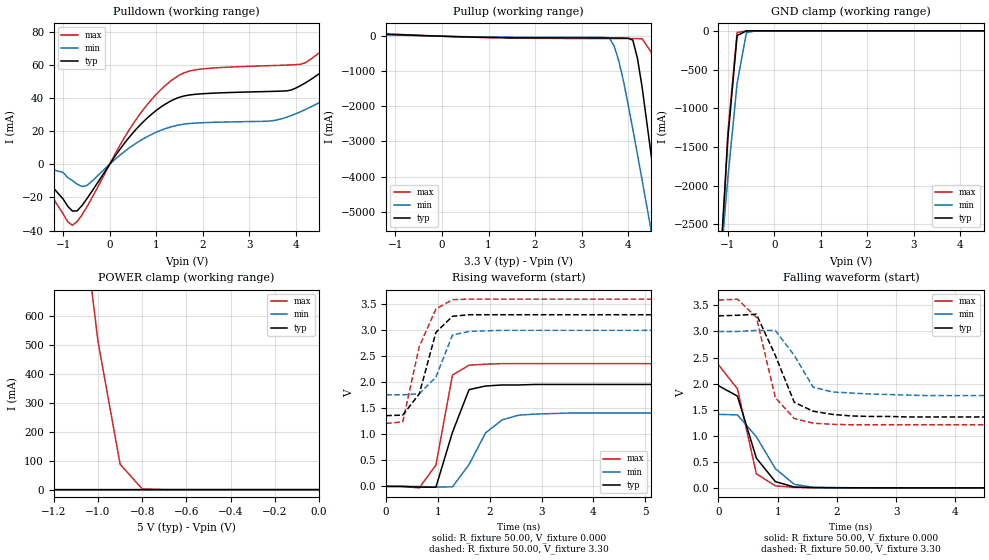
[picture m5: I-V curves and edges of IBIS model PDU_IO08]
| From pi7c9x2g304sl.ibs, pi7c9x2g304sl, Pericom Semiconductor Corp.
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|   Model PDU_IO08
[Model]   PDU_IO08
Model_type   I/O
Polarity   Non-Inverting
Enable   Active-Low
Vinl =   0.80V
Vinh =   2.00V
Vmeas =   1.65V
Cref =  50.00pF
Rref =   1.00M
Vref =  0.000V
C_comp   1.79pF   1.61pF   1.97pF
[Temperature Range]   25.00   0.12k   0.000
[Pullup Reference]   3.30V   3.00V   3.60V
[Pulldown Reference]   0.000V   0.000V   0.000V
[POWER Clamp Reference]   5.00V   4.50V   5.50V
[GND Clamp Reference]   0.000V   0.000V   0.000V
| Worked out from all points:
|   slope of the pulldown table from 0 to 0.495 V, typ, clamps not added: 26.3 ohm
|   slope of the pullup table from 0 to 0.495 V, typ, clamps not added: 26 ohm
|   GND clamp passes 1 mA (typ) near -0.60 V on its own axis
|   POWER clamp passes 1 mA (typ) near -1.31 V on its own axis
|   rising waveform, R_fixture 50.00, V_fixture 0.000: 20-80 % time 402ps typ, 548ps min, 262ps max; typ from 0.001 V to 1.96 V
|   rising waveform, R_fixture 50.00, V_fixture 3.30: 20-80 % time 332ps typ, 350ps min, 413ps max; typ from 1.36 V to 3.3 V
|   falling waveform, R_fixture 50.00, V_fixture 0.000: 20-80 % time 395ps typ, 526ps min, 278ps max; typ from 1.96 V to 0.001 V
|   falling waveform, R_fixture 50.00, V_fixture 3.30: 20-80 % time 432ps typ, 420ps min, 323ps max; typ from 3.3 V to 1.36 V
[Pulldown]
| voltage   I(typ)   I(min)   I(max)
-3.3V     0A         0A         0A
-1.7V     -2mA       -1mA       0A
-800mV    -28.27mA   -9.9mA     -36.85mA
-500mV    -21.24mA   -12.99mA   -26.22mA
600mV     22.1mA     13.29mA    28.31mA
1.5V      40.44mA    23.78mA    53.82mA
3.9V      44.8mA     29.37mA    59.97mA
4.3V      50.75mA    34.28mA    63mA
5.1V      68.29mA    46.18mA    82.64mA
5.7V      83.98mA    54.63mA    100mA
5.9V      89.44mA    33.98mA    110mA
6.6V      620mA      39.63mA    1.27A
[Pullup]
| voltage   I(typ)   I(min)   I(max)
-3.3V     140mA      75.04mA    160mA
3.6V      -50.24mA   -57.17mA   -66.29mA
3.7V      -50.39mA   -280mA     -66.49mA
3.8V      -50.62mA   -710mA     -66.69mA
4.1V      -110mA     -2.65A     -67.44mA
4.2V      -630mA     -3.37A     -68.94mA
4.3V      -1.45A     -4.1A      -72.56mA
4.5V      -3.44A     -5.58A     -460mA
4.7V      -5.53A     -7.07A     -2.55A
4.9V      -7.65A     -8.57A     -5.07A
5.1V      -9.78A     -10.07A    -7.65A
6.6V      -25.9A     -21.41A    -27.37A
[GND_clamp]
| voltage   I(typ)   I(min)   I(max)
-5V       -44.03A    -32.02A    -53.7A
-1.2V     -3.38A     -3.33A     -3.73A
-1V       -1.4A      -1.91A     -1.32A
-800mV    -61.51mA   -680mA     -21.84mA
-600mV    -890uA     -24.58mA   -1.59mA
-400mV    -41.62uA   -180uA     -62.74uA
5V        5.41nA     9.3nA      5.22nA
[POWER_clamp]
| voltage   I(typ)   I(min)   I(max)
-3.3V     6.83A      4.83uA     17.26A
-1.7V     880mA      31.74nA    5.49A
-1.6V     510mA      14.2nA     4.75A
-1.5V     140mA      12.99nA    4.01A
-1.4V     7.68mA     12.76nA    3.28A
-1.3V     180uA      12.58nA    2.54A
-1.1V     95.66nA    12.25nA    1.14A
-1V       8.35nA     12.1nA     510mA
-900mV    6.3nA      11.95nA    87.31mA
-800mV    6.14nA     11.8nA     2.31mA
0V        5.27nA     10.73nA    5.78nA
[Ramp]
| variable   typ   min   max
dV/dt_r   1.18/0.29n   0.85/0.45n   1.42/0.22n
dV/dt_f   1.16/0.30n   0.74/0.38n   1.43/0.28n
R_load = 50.00
[Rising Waveform]
R_fixture = 50.00
V_fixture = 0.000
V_fixture_min = 0.000
V_fixture_max = 0.000
L_fixture = 0.000H
C_fixture = 0.000F
| time   V(typ)   V(min)   V(max)
0s        540uV      440uV      650uV
640ps     -14.3mV    -1.81mV    -28.22mV
960ps     -16.12mV   -12.94mV   410mV
1.28ns    1.04V      -9.51mV    2.14V
1.6ns     1.86V      420mV      2.33V
1.92ns    1.93V      1.03V      2.35V
2.24ns    1.95V      1.28V      2.36V
2.56ns    1.95V      1.37V      2.36V
3.52ns    1.96V      1.41V      2.36V
16ns      1.96V      1.41V      2.36V
[Rising Waveform]
R_fixture = 50.00
V_fixture = 3.30
V_fixture_min = 3.00
V_fixture_max = 3.60
L_fixture = 0.000H
C_fixture = 0.000F
| time   V(typ)   V(min)   V(max)
0s        1.36V      1.76V      1.21V
320ps     1.37V      1.76V      1.24V
640ps     1.78V      1.78V      2.69V
960ps     2.96V      2.1V       3.41V
1.28ns    3.27V      2.91V      3.59V
1.6ns     3.3V       2.98V      3.6V
2.24ns    3.3V       3V         3.6V
16ns      3.3V       3V         3.6V
[Falling Waveform]
R_fixture = 50.00
V_fixture = 0.000
V_fixture_min = 0.000
V_fixture_max = 0.000
L_fixture = 0.000H
C_fixture = 0.000F
| time   V(typ)   V(min)   V(max)
0s        1.96V      1.41V      2.36V
320ps     1.76V      1.4V       1.9V
640ps     570mV      980mV      270mV
960ps     120mV      370mV      39.63mV
1.28ns    16.41mV    67.38mV    9.58mV
1.6ns     5.6mV      12.05mV    3.03mV
3.52ns    550uV      550uV      650uV
16ns      540uV      440uV      650uV
[Falling Waveform]
R_fixture = 50.00
V_fixture = 3.30
V_fixture_min = 3.00
V_fixture_max = 3.60
L_fixture = 0.000H
C_fixture = 0.000F
| time   V(typ)   V(min)   V(max)
0s        3.3V       3V         3.6V
320ps     3.31V      3V         3.62V
640ps     3.33V      3.02V      3.27V
960ps     2.54V      3.02V      1.73V
1.28ns    1.64V      2.54V      1.33V
1.6ns     1.47V      1.93V      1.24V
1.92ns    1.41V      1.84V      1.22V
2.24ns    1.38V      1.82V      1.21V
3.52ns    1.36V      1.77V      1.21V
16ns      1.36V      1.76V      1.21V
